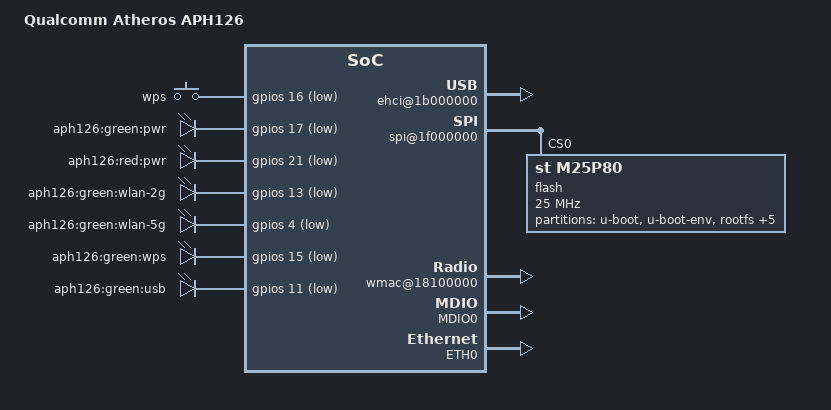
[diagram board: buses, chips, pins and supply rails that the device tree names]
/*
 * Copyright (c) 2013 The Linux Foundation. All rights reserved.
 *
 * This program is free software; you can redistribute it and/or modify it
 * under the terms of the GNU General Public License version 2 as published
 * by the Free Software Foundation.
 */

/dts-v1/;

/ {
	model = "Qualcomm Atheros APH126";
	compatible = "ath79,aph126";
	#address-cells = <1>;
	#size-cells = <1>;
	interrupt-parent = <&vic>;

	gpios: ath79-gpio {
		#gpio-cells = <2>;
		gpio-controller;
	};

	ahb {
		compatible = "simple-bus";
		#address-cells = <1>;
		#size-cells = <1>;
		ranges;

		vic: intc {
			compatible = "interrupt-controller";
			interrupt-controller;
			#interrupt-cells = <1>;
		};

		ehci@1b000000 {
			compatible = "qcom,ag71xx-ehci";
			reg = <0x1b000000 0x20000>;
			interrupts = <3>;
			interrupt-parent = <&vic>;
		};

		spi@1f000000 {
			compatible = "qcom,ag71xx-spi";	 /* master */
			#address-cells = <1>;
			#size-cells = <0>;
			reg = <0x1f000000 0x01000000>;

			flash: m25p80@0 {
				compatible = "st,m25p80";	/* modalias */
				#address-cells = <1>;
				#size-cells = <1>;
				spi-max-frequency = <25000000>; /* max_speed_hz */
				reg = <0>;			/* chip_select */
				spi-controller-data = <1 0 0>;  /* is_flash cs_type cs_line */

				partition@u-boot {
					label = "u-boot";
					reg = <0x00000000 0x00040000>;
                                        read-only;
                                };
				partition@u-boot-env {
					label = "u-boot-env";
					reg = <0x00040000 0x00010000>;
                                        read-only;
                                };
                                partition@rootfs {
                                        label = "rootfs";
                                        reg = <0x00050000 0x00620000>;
                                };
                                partition@kernel {
                                        label = "kernel";
                                        reg = <0x00670000 0x00160000>;
                                        read-only;
                                };
                                partition@pib {
                                        label = "pib";
                                        reg = <0x007d0000 0x00010000>;
                                };
                                partition@dtb {
                                        label = "dtb";
                                        reg = <0x007e0000 0x00010000>;
                                        read-only;
                                };
                                partition@art {
                                        label = "art";
                                        reg = <0x007f0000 0x00010000>;
                                        read-only;
                                };
                                partition@firmware {
                                        label = "firmware";
                                        reg = <0x00050000 0x00780000>;
                                };
			};
		};

		wmac@18100000 {
			compatible = "qcom,ag71xx-wmac";
			reg = <0x18100000 0x20000>;
			interrupts = <47>;
			interrupt-parent = <&vic>;
		};

		MDIO0: mdio@19000000 {
			compatible = "qcom,ag71xx-mdio";
			reg = <0x19000000 0x200>;
			reg-names = "mdio_base";

			bi-phy-addr = <0>;
			bi-port0-cfg = <1 2 1 1 1>; /* force_link speed:1G txpause rxpause duplex */
			bi-led-cfg = <0 0xc737c737 0 0x00c30c00 1>; /* led_ctrl0 led_ctrl1 led_ctrl2 led_ctrl3 open_drain*/
			bi-pad0-cfg = <6 0 0 0 1 1 1 2 0 0>; /* mode rxclk_sel txclk_sel pipe_rxclk_sel txclk_delay_en
				rxclk_delay_en txclk_delay_sel rxclk_delay_sel sgmii_txclk_phase_sel sgmii_rxclk_phase_sel */
			bi-port6-cfg = <1 2 0 0 1>; /* force_link speed:1G txpause rxpause duplex */
			bi-pad6-cfg = <6 0 0 0 1 1 1 2 0 0>; /* mode rxclk_sel txclk_sel pipe_rxclk_sel txclk_delay_en
				rxclk_delay_en txclk_delay_sel rxclk_delay_sel sgmii_txclk_phase_sel sgmii_rxclk_phase_sel */
		};

		ETH0: ethernet@19000000 {
			compatible = "qcom,ag71xx-eth";
			reg = <0x19000000 0x200>,
			      <0x18070000 0x14>;
			reg-names = "mac_base",
				"cfg_base";
			interrupts = <4>;
			interrupt-names = "mac_irq";
			interrupt-parent = <&vic>;
			mdio-handle = <&MDIO0>;

			eth-cfg = <0x00000041>; /* RGMII_GMAC0 | SW_ONLY_MODE */
			eth-phy-cfg = <6 1 1000 1>; /* phy_if_mode:RGMII phy_mask:1 speed:1G duplex:DUPLEX_FULL */
			eth-pll-data = <0 0 0x06000000>; /* pll_10 pll_100 pll_1000 */
		};
	};

	gpio-keys {
		compatible = "gpio-keys";
		#address-cells = <1>;
		#size-cells = <0>;

		wps {
			label = "wps";
			gpios = <&gpios 16 1>;
			linux,code = <529>; /* KEY_WPS_BUTTON */
			debounce-interval = <60>;
		};
	};

	gpio-leds {
		compatible = "gpio-leds";

		pwr-green {
			label = "aph126:green:pwr";
			gpios = <&gpios 17 1>;
			linux,default-trigger = "default-on";
		};

		pwr-red {
			label = "aph126:red:pwr";
			gpios = <&gpios 21 1>;
			default-state = "off";
		};

		wlan2g {
			label = "aph126:green:wlan-2g";
			gpios = <&gpios 13 1>;
			default-state = "off";
		};

		wlan5g {
			label = "aph126:green:wlan-5g";
			gpios = <&gpios 4 1>;
			default-state = "off";
		};

		wps {
			label = "aph126:green:wps";
			gpios = <&gpios 15 1>;
			default-state = "off";
		};

		usb {
			label = "aph126:green:usb";
			gpios = <&gpios 11 1>;
			default-state = "off";
		};
	};
};
